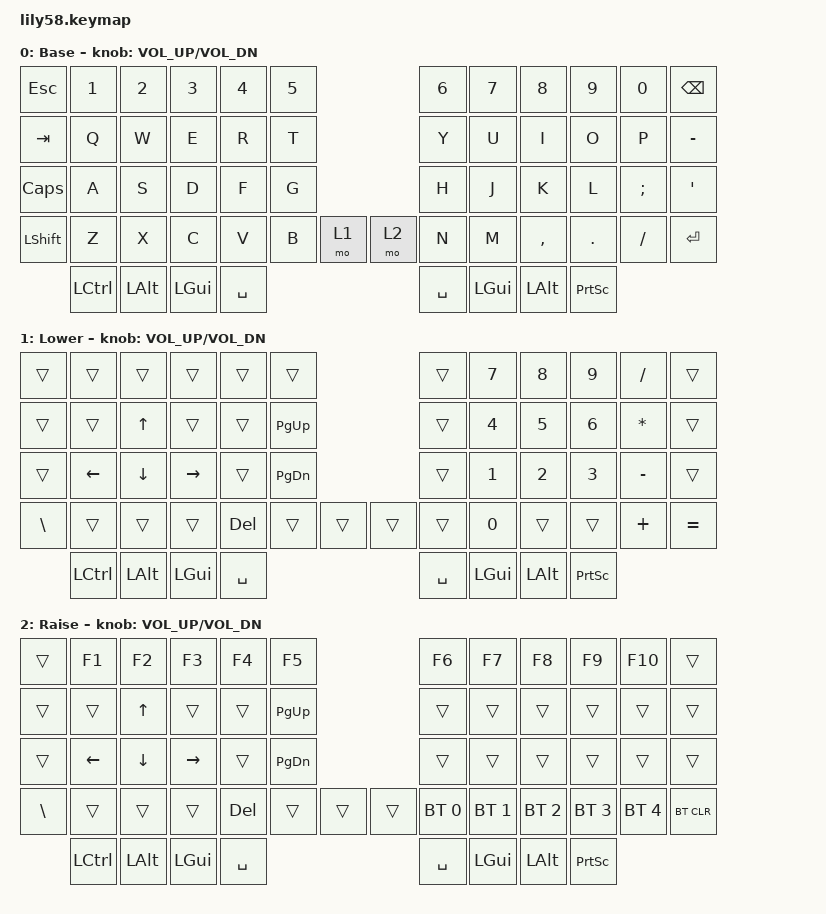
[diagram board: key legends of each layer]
/*
 * Copyright (c) 2020 The ZMK Contributors
 *
 * SPDX-License-Identifier: MIT
 */

#include <behaviors.dtsi>
#include <dt-bindings/zmk/keys.h>
#include <dt-bindings/zmk/bt.h>
#include <dt-bindings/zmk/ext_power.h>

/ {
    keymap {
        compatible = "zmk,keymap";

        default_layer {
// ------------------------------------------------------------------------------------------------------------
// |  ESC  |  1  |  2  |  3   |  4   |  5   |                   |  6   |  7    |  8    |  9   |   0   | BSPC  |
// |  TAB  |  Q  |  W  |  E   |  R   |  T   |                   |  Y   |  U    |  I    |  O   |   P   | - _   |
// | CAPS  |  A  |  S  |  D   |  F   |  G   |                   |  H   |  J    |  K    |  L   |   ;   |   '   |
// | SHIFT |  Z  |  X  |  C   |  V   |  B   |  LOWER |  | RAISE |  N   |  M    |  ,    |  .   |   /   | ENTER |
//                     | CTRL | ALT  | GUI |  SPACE  |  | SPACE | GUI | ALT  | PRSCN |
            display-name = "Base";
            bindings = <
&kp ESC   &kp N1 &kp N2 &kp N3   &kp N4   &kp N5                     &kp N6 &kp N7   &kp N8    &kp N9  &kp N0      &kp BSPC
&kp TAB   &kp Q  &kp W  &kp E    &kp R    &kp T                      &kp Y  &kp U    &kp I     &kp O   &kp P       &kp MINUS
&kp CAPS  &kp A  &kp S  &kp D    &kp F    &kp G                      &kp H  &kp J    &kp K     &kp L   &kp SEMI    &kp SQT
&kp LSHFT &kp Z  &kp X  &kp C    &kp V    &kp B  &mo 1        &mo 2  &kp N  &kp M    &kp COMMA &kp DOT &kp FSLH    &kp RET
          &kp LCTRL     &kp LALT   &kp LGUI      &kp SPACE     &kp SPACE     &kp LGUI   &kp LALT   &kp PSCRN
            >;

            sensor-bindings = <&inc_dec_kp C_VOL_UP C_VOL_DN>;
        };

        lower_layer {
// ------------------------------------------------------------------------------------------------------------
// |         |     |     |      |      |      |                   |      |   7   |   8   |  9   | DIV   |       |
// |         |     | UP  |      |      |PG UP |                   |      |   4   |   5   |  6   | MULT  |       |
// |         |LEFT |DOWN |RIGHT |      |PG DN |                   |      |   1   |   2   |  3   | SUBT  |       |
// |"\" & "|"|     |     |      | DEL  |      |        |  |       |      |   0   |       |      | ADD   | EQUAL |
//                       | CTRL | ALT  | GUI  | SPACE  |  | SPACE | GUI | ALT    | CTRL  |
            display-name = "Lower";
            bindings = <
&trans        &trans           &trans        &trans       &trans     &trans                               &trans     &kp N7       &kp N8       &kp N9        &kp SLASH     &trans
&trans        &trans           &kp UP        &trans       &trans     &kp PG_UP                            &trans     &kp N4       &kp N5       &kp N6        &kp STAR      &trans
&trans        &kp LEFT         &kp DOWN      &kp RIGHT    &trans     &kp PG_DN                            &trans     &kp N1       &kp N2       &kp N3        &kp MINUS     &trans
&kp BSLH      &trans           &trans        &trans       &kp DEL    &trans    &trans         &trans      &trans     &kp N0       &trans       &trans        &kp PLUS      &kp EQUAL
                                             &kp LCTRL    &kp LALT   &kp LGUI  &kp SPACE      &kp SPACE   &kp LGUI   &kp LALT     &kp PSCRN
            >;

            sensor-bindings = <&inc_dec_kp C_VOL_UP C_VOL_DN>;
        };

        raise_layer {
// ------------------------------------------------------------------------------------------------------------
// |   F1    |  F2  |  F3   | F4   | F5    |  F6   |                        |  F7 | F8   |  F9   |  F10  |  F11  |     F12     |
// |         |      |  UP   |      |       | PG_UP |                        |     |      |       |       |       |             |
// |         | LEFT | DOWN  | RIGHT|       | PG_DN |                        |     |      |       |       |       |             |
// |"\" & "|"|      |       |      |   DEL |       |         |  |           | BT1 | BT2  |  BT3  |  BT4  |  BT5  |   Clear BT  |   
//                          | CTRL |  ALT  |  GUI  | SPACE   |  |   SPACE   | GUI | ALT  |  CTRL |
            display-name = "Raise";
            bindings = <
&trans    &kp F1         &kp F2          &kp F3         &kp F4       &kp F5                            &kp F6         &kp F7         &kp F8        &kp F9        &kp F10       &trans
&trans    &trans         &kp UP          &trans         &trans       &kp PG_UP                         &trans         &trans         &trans        &trans        &trans        &trans
&trans    &kp LEFT       &kp DOWN        &kp RIGHT      &trans       &kp PG_DN                         &trans         &trans         &trans        &trans        &trans        &trans
&kp BSLH  &trans         &trans          &trans         &kp DEL      &trans    &trans        &trans    &bt BT_SEL 0   &bt BT_SEL 1   &bt BT_SEL 2  &bt BT_SEL 3  &bt BT_SEL 4  &bt BT_CLR
                                         &kp LCTRL      &kp LALT     &kp LGUI  &kp SPACE     &kp SPACE &kp LGUI       &kp LALT       &kp PSCRN
            >;

            sensor-bindings = <&inc_dec_kp C_VOL_UP C_VOL_DN>;
        };
    };
};
